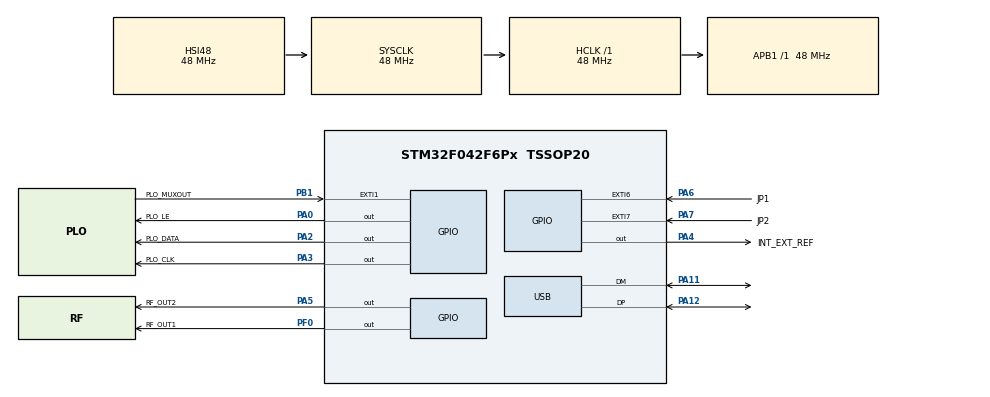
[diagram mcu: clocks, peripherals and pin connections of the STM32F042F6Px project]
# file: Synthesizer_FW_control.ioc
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ADC.ContinuousConvMode=ENABLE
ADC.SamplingTime=ADC_SAMPLETIME_239CYCLES_5
Mcu.Family=STM32F0
Mcu.Name=STM32F042F6Px
Mcu.Package=TSSOP20
NVIC.ADC1_IRQn=true\:0\:0\:false\:false\:true\:true\:true
NVIC.EXTI0_1_IRQn=true\:0\:0\:false\:false\:true\:true\:true
NVIC.EXTI4_15_IRQn=true\:0\:0\:false\:false\:true\:true\:true
NVIC.TIM3_IRQn=true\:0\:0\:false\:false\:true\:true\:true
NVIC.USB_IRQn=true\:0\:0\:false\:false\:true\:false\:true
PA0.GPIO_Label=PLO_LE
PA0.Signal=GPIO_Output
PA11.Mode=Device
PA11.Signal=USB_DM
PA12.Mode=Device
PA12.Signal=USB_DP
PA13.Mode=Serial_Wire
PA13.Signal=SYS_SWDIO
PA14.Mode=Serial_Wire
PA14.Signal=SYS_SWCLK
PA2.GPIO_Label=PLO_DATA
PA2.Signal=GPIO_Output
PA3.GPIO_Label=PLO_CLK
PA3.Signal=GPIO_Output
PA4.GPIO_Label=INT_EXT_REF
PA4.Signal=GPIO_Output
PA5.GPIO_Label=RF_OUT2
PA5.PinState=GPIO_PIN_SET
PA5.Signal=GPIO_Output
PA6.GPIO_Label=JP1
PA6.GPIO_ModeDefaultEXTI=GPIO_MODE_IT_RISING_FALLING
PA6.GPIO_PuPd=GPIO_PULLUP
PA6.Signal=GPXTI6
PA7.GPIO_Label=JP2
PA7.GPIO_ModeDefaultEXTI=GPIO_MODE_IT_RISING_FALLING
PA7.GPIO_PuPd=GPIO_PULLUP
PA7.Signal=GPXTI7
PB1.GPIO_Label=PLO_MUXOUT
PB1.GPIO_ModeDefaultEXTI=GPIO_MODE_IT_RISING_FALLING
PB1.Signal=GPXTI1
PF0-OSC_IN.GPIO_Label=RF_OUT1
PF0-OSC_IN.PinState=GPIO_PIN_SET
PF0-OSC_IN.Signal=GPIO_Output
ProjectManager.HeapSize=0x200
ProjectManager.StackSize=0x400
ProjectManager.TargetToolchain=Makefile
RCC.AHBFreq_Value=48000000
RCC.APB1Freq_Value=48000000
RCC.APB1TimFreq_Value=48000000
RCC.HCLKFreq_Value=48000000
RCC.SYSCLKFreq_VALUE=48000000
RCC.SYSCLKSource=RCC_SYSCLKSOURCE_HSI48
TIM3.Period=499
TIM3.Prescaler=48000
USB_DEVICE.APP_RX_DATA_SIZE=500
USB_DEVICE.APP_TX_DATA_SIZE=500
USB_DEVICE.CLASS_NAME_FS=CDC
USB_DEVICE.MANUFACTURER_STRING=OK2FKU
USB_DEVICE.PID_CDC_FS=22336
USB_DEVICE.PRODUCT_STRING_CDC_FS=OK2FKU Synthesizer
USB_DEVICE.USBD_MAX_STR_DESC_SIZ=256
USB_DEVICE.VirtualMode=Cdc
USB_DEVICE.VirtualModeFS=Cdc_FS
VP_ADC_TempSens_Input.Mode=IN-TempSens
VP_SYS_VS_PINREMAP.Mode=PINREMAP
VP_TIM3_VS_ClockSourceINT.Mode=Internal
VP_USB_DEVICE_VS_USB_DEVICE_CDC_FS.Mode=CDC_FS
board=custom

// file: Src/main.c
/* USER CODE BEGIN Header */
/**
  ******************************************************************************
  * @file           : main.c
  * @brief          : Main program body
  ******************************************************************************
  * @attention
  *
  * <h2><center>&copy; Copyright (c) 2019 STMicroelectronics.
  * All rights reserved.</center></h2>
  *
  * This software component is licensed by ST under BSD 3-Clause license,
  * the "License"; You may not use this file except in compliance with the
  * License. You may obtain a copy of the License at:
  *                        opensource.org/licenses/BSD-3-Clause
  *
  ******************************************************************************
  */
/* USER CODE END Header */

#include "main.h"
#include "adc.h"
#include "tim.h"
#include "usb_device.h"
#include "gpio.h"

/* USER CODE BEGIN Includes */
#include "max2871.h"
#include "flash.h"
#include "timer.h"
#include "usb.h"
#include "usbd_cdc_if.h"
#include "stm32f0xx_hal.h"
#include "stm32f0xx_it.h"
#include "stm32f0xx_ll_adc.h"
#include "stdio.h"
/* USER CODE END Includes */

void SystemClock_Config(void);

/* USER CODE BEGIN 0 */

void HAL_ADC_ConvCpltCallback(ADC_HandleTypeDef* hadc)
{
    temp = HAL_ADC_GetValue(hadc);
}

void HAL_GPIO_EXTI_Callback(uint16_t GPIO_Pin)
{
    if (host_com_port_open_closed == HOST_COM_PORT_OPENED && GPIO_Pin == GPIO_PIN_1)
        plo_check_lock_status(); // only if serial port opened
}

/**
  * @brief  Function that call in while endless loop. Check, if serial port was
  *         open or was close.
  *
  *         @note
  *         When serial port is open, process circle buffer for lock state
  *         events and buffered usb command data.
  *         When ser. port is close, check if jumper select position is changed.
  *         Than apply appropriate changes.
  */
void running_routine(void)
{
    switch (host_com_port_open_closed)
    {
        case HOST_COM_PORT_OPENED:
            //PLO_MODULE_OUT2_ON; // TODO for test purpose only

            if (tick_handle == TICK_OCCUR) {
                HAL_ADC_Start_IT(&hadc);
            }
            // check if new plo lock status occur and eventually process them
            usb_procesing_command_data();

            uint8_t data;
            while (plo_buff_pop(&data))
            {
                plo_process_lock_status((bool)data);
            }
            // check if new usb command is ready and eventually process them.
            break;
        case HOST_COM_PORT_CLOSED:
            //PLO_MODULE_OUT2_OFF; // TODO for test purpose only
            // if jumper possition has changed, load new setting into plo
            if (memory_select_event == MEMORY_SELECT_CHANGED)
                apply_memory_select_changed(PLO_NEW_DATA);
            break;
        default:
            break;
    }
}

/**
  * @brief This function run after startup and if stored data isn't write to data
  *        memory, load default values into memory. After that apply changes and
  *        sellect plo setting according to jumper position.
  */
void init_routine(void)
{
    if (saved_data_1[0] == 0x0)
    {
        load_default_memory_register_values();
    }
    apply_memory_select_changed(PLO_INIT);
}

/* USER CODE END 0 */

int main(void)
{

  /* MCU Configuration--------------------------------------------------------*/

  /* Reset of all peripherals, Initializes the Flash interface and the Systick. */
  HAL_Init();

  /* Configure the system clock */
  SystemClock_Config();

  /* Initialize all configured peripherals */
  MX_GPIO_Init();
  MX_USB_DEVICE_Init();
  MX_TIM3_Init();
  MX_ADC_Init();
  /* USER CODE BEGIN 2 */
    PLO_MODULE_OUT2_OFF;
    PLO_MODULE_OUT1_OFF;

    HAL_TIM_Base_Start_IT(&htim3);  // start timer 3
    HAL_ADCEx_Calibration_Start(&hadc);
    setbuf(stdout, NULL);           // it is necessary to redirect to usb

    HAL_Delay(500);
    init_routine();     // initialize user settings

  /* USER CODE END 2 */

  /* Infinite loop */
    while (1)
    {

    /* USER CODE BEGIN 3 */
        running_routine();
    }
  /* USER CODE END 3 */
}

void SystemClock_Config(void)
{
  RCC_OscInitTypeDef RCC_OscInitStruct = {0};
  RCC_ClkInitTypeDef RCC_ClkInitStruct = {0};
  RCC_PeriphCLKInitTypeDef PeriphClkInit = {0};

  /** Initializes the CPU, AHB and APB busses clocks
  */
  RCC_OscInitStruct.OscillatorType = RCC_OSCILLATORTYPE_HSI14|RCC_OSCILLATORTYPE_HSI48;
  RCC_OscInitStruct.HSI48State = RCC_HSI48_ON;
  RCC_OscInitStruct.HSI14State = RCC_HSI14_ON;
  RCC_OscInitStruct.HSI14CalibrationValue = 16;
  RCC_OscInitStruct.PLL.PLLState = RCC_PLL_NONE;
  if (HAL_RCC_OscConfig(&RCC_OscInitStruct) != HAL_OK)
  {
    Error_Handler();
  }
  /** Initializes the CPU, AHB and APB busses clocks
  */
  RCC_ClkInitStruct.ClockType = RCC_CLOCKTYPE_HCLK|RCC_CLOCKTYPE_SYSCLK
                              |RCC_CLOCKTYPE_PCLK1;
  RCC_ClkInitStruct.SYSCLKSource = RCC_SYSCLKSOURCE_HSI48;
  RCC_ClkInitStruct.AHBCLKDivider = RCC_SYSCLK_DIV1;
  RCC_ClkInitStruct.APB1CLKDivider = RCC_HCLK_DIV1;

  if (HAL_RCC_ClockConfig(&RCC_ClkInitStruct, FLASH_LATENCY_1) != HAL_OK)
  {
    Error_Handler();
  }
  PeriphClkInit.PeriphClockSelection = RCC_PERIPHCLK_USB;
  PeriphClkInit.UsbClockSelection = RCC_USBCLKSOURCE_HSI48;

  if (HAL_RCCEx_PeriphCLKConfig(&PeriphClkInit) != HAL_OK)
  {
    Error_Handler();
  }
}

void Error_Handler(void)
{
}

/************************ (C) COPYRIGHT STMicroelectronics *****END OF FILE****/
